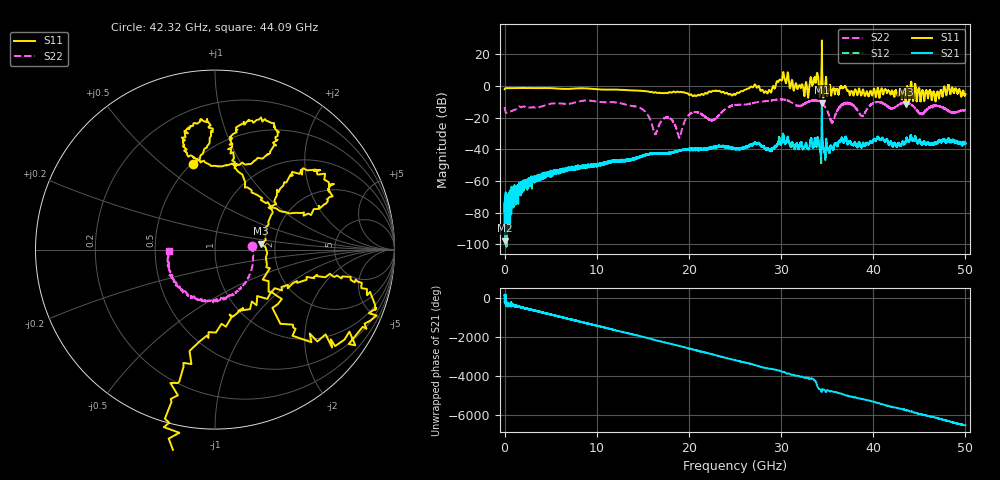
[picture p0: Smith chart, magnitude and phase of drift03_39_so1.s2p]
!Created with skrf (http://scikit-rf.org).
# Hz S RI R 50.0
!freq ReS11 ImS11 ReS21 ImS21 ReS12 ImS12 ReS22 ImS22
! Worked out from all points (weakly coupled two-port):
!   10000 points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, 5.3 MHz to 50 GHz, reference 50 ohm
!   highest |S21| = -10.52 dB at 34.43 GHz (marker M1); lowest = -97.8 dB at 70.3 MHz (marker M2)
!   lowest |S11| = -11.7 dB at 43.52 GHz (marker M3), VSWR 1.70, Z = 84.5 + j6.04 ohm
!   |S11| at or under -10 dB: 43.49248 GHz to 43.54347 GHz (50.99 MHz wide, 0.117 % of centre); 43.54886 GHz to 43.55035 GHz (1.493 MHz wide, 0.00343 % of centre)
!   |S22| runs from -32.7 to -8.4 dB; largest |S21 - S12| = 0.082
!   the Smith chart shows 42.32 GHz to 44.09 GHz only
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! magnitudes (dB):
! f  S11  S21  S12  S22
! 5.3 MHz  -2.1  -79.5  -73.0  -13.3
! 70.3 MHz  -1.5  -97.8  -70.5  -15.6
! 3.07 GHz  -1.4  -59.2  -57.9  -13.4
! 8.34 GHz  -1.5  -50.6  -51.9  -9.5
! 14.55 GHz  -3.1  -45.3  -45.1  -13.5
! 16.67 GHz  -4.4  -42.7  -42.7  -26.1
! 17.8 GHz  -4.2  -42.4  -42.3  -20.0
! 18.98 GHz  -3.9  -40.8  -41.1  -32.6
! 20.29 GHz  -5.5  -40.1  -40.0  -17.0
! 22.56 GHz  -3.1  -38.9  -39.5  -21.6
! 25.01 GHz  -5.5  -39.9  -40.0  -12.1
! 28.72 GHz  -2.5  -40.8  -40.2  -9.4
! 30.14 GHz  4.4  -33.9  -34.0  -8.5
! 32.74 GHz  2.0  -37.1  -36.8  -10.8
! 33.34 GHz  2.5  -35.0  -35.2  -9.4
! 34.43 GHz  28.7  -10.5  -12.4  -10.9
! 35.53 GHz  -3.4  -38.8  -38.9  -23.1
! 36.99 GHz  0.0  -32.4  -32.4  -11.1
! 38.77 GHz  -5.1  -38.2  -38.1  -19.0
! 41.67 GHz  -3.0  -36.8  -36.8  -13.3
! 43.52 GHz  -11.7  -34.9  -35.3  -10.9
! 50 GHz  -5.2  -36.3  -36.3  -15.5
